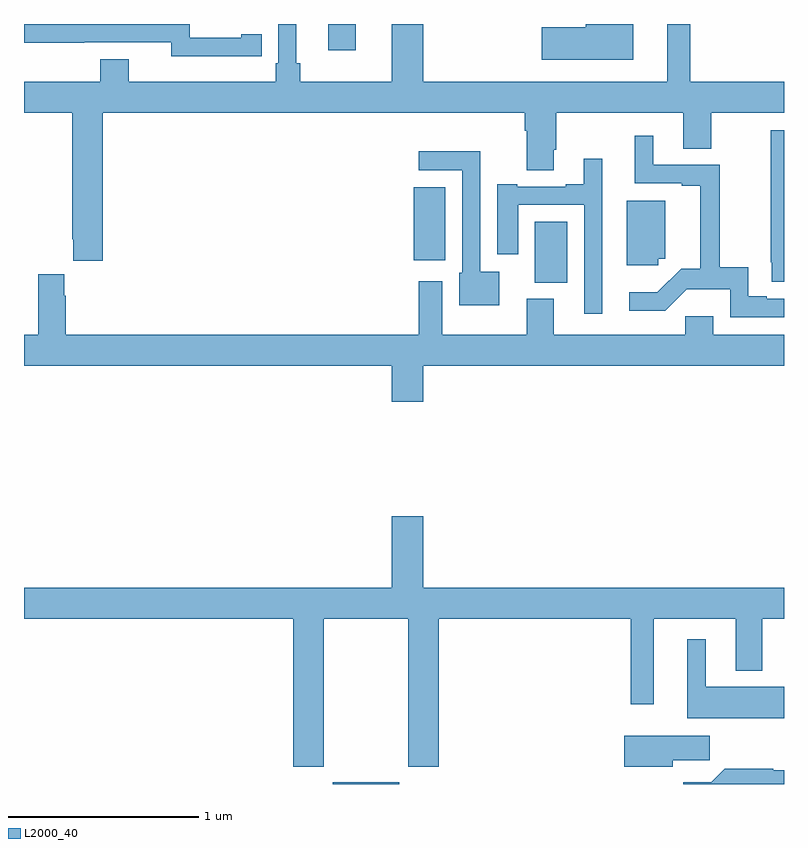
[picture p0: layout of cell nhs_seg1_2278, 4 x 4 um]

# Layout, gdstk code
import gdstk
lib = gdstk.Library(unit=1e-6, precision=1e-09)
def R(c, l, rs):  # rectangles x0, y0, x1, y1
    for r in rs: c.add(gdstk.rectangle(r[:2], r[2:], *l))
def P(c, l, *ps):  # polygons
    for p in ps: c.add(gdstk.Polygon(p, *l))
L2000_40 = (2000, 40)

nhs_seg1_2278 = lib.new_cell('nhs_seg1_2278')
R(nhs_seg1_2278, L2000_40, [(236.624,548.199,236.974,548.209), (237.689,550.838,237.859,551.158), (237.05,550.955,237.217,551.341), (236.6,552.06,236.746,552.199)])
P(nhs_seg1_2278, L2000_40, [(238.207,552.199),(237.956,552.199),(237.956,552.182),(237.726,552.182),(237.726,552.011),(238.207,552.011)],
  [(235.415,551.732),(237.635,551.732),(237.635,551.636),(237.647,551.636),(237.647,551.428),(237.787,551.428),(237.787,551.536),(237.8,551.536),(237.8,551.732),(238.469,551.732),(238.469,551.542),(238.617,551.542),(238.617,551.732),(239,551.732),(239,551.896),(238.507,551.896),(238.507,552.199),(238.385,552.199),(238.385,551.896),(237.1,551.896),(237.1,552.199),(236.936,552.199),(236.936,551.896),(236.453,551.896),(236.453,551.992),(236.434,551.992),(236.434,552.199),(236.337,552.199),(236.337,551.992),(236.324,551.992),(236.324,551.896),(235.552,551.896),(235.552,552.013),(235.4,552.013),(235.4,551.896),(235,551.896),(235,551.732),(235.255,551.732),(235.255,551.065),(235.259,551.065),(235.259,550.953),(235.415,550.953)],
  [(236.144,552.03),(236.252,552.03),(236.252,552.146),(236.144,552.146),(236.144,552.126),(235.872,552.126),(235.872,552.198),(235,552.198),(235,552.101),(235.316,552.101),(235.316,552.102),(235.776,552.102),(235.776,552.029),(236.144,552.029)],
  [(239,551.64),(238.93,551.64),(238.93,550.945),(238.936,550.945),(238.936,550.843),(239,550.843)],
  [(239,550.752),(238.909,550.752),(238.909,550.766),(238.812,550.766),(238.812,550.919),(238.661,550.919),(238.661,551.457),(238.312,551.457),(238.312,551.611),(238.214,551.611),(238.214,551.361),(238.463,551.361),(238.463,551.349),(238.559,551.349),(238.559,550.912),(238.459,550.912),(238.333,550.786),(238.185,550.786),(238.185,550.689),(238.374,550.689),(238.487,550.802),(238.716,550.802),(238.716,550.656),(239,550.656)],
  [(237.502,550.894),(237.402,550.894),(237.402,551.528),(237.078,551.528),(237.078,551.43),(237.306,551.43),(237.306,550.89),(237.29,550.89),(237.29,550.718),(237.502,550.718)],
  [(238.044,551.491),(237.947,551.491),(237.947,551.356),(237.851,551.356),(237.851,551.343),(237.595,551.343),(237.595,551.356),(237.491,551.356),(237.491,550.986),(237.601,550.986),(237.601,551.247),(237.948,551.247),(237.948,550.674),(238.044,550.674)],
  [(238.338,550.964),(238.375,550.964),(238.375,551.269),(238.172,551.269),(238.172,550.928),(238.338,550.928)],
  [(237.1,550.4),(239,550.4),(239,550.564),(238.627,550.564),(238.627,550.662),(238.481,550.662),(238.481,550.564),(237.787,550.564),(237.787,550.753),(237.647,550.753),(237.647,550.564),(237.202,550.564),(237.202,550.846),(237.077,550.846),(237.077,550.564),(235.22,550.564),(235.22,550.769),(235.213,550.769),(235.213,550.882),(235.076,550.882),(235.076,550.564),(235,550.564),(235,550.4),(236.936,550.4),(236.936,550.212),(237.1,550.212)],
  [(236.577,549.068),(237.022,549.068),(237.022,548.289),(237.182,548.289),(237.182,549.068),(238.194,549.068),(238.194,548.619),(238.315,548.619),(238.315,549.068),(238.745,549.068),(238.745,548.795),(238.885,548.795),(238.885,549.068),(239,549.068),(239,549.232),(237.1,549.232),(237.1,549.607),(236.936,549.607),(236.936,549.232),(235,549.232),(235,549.068),(236.417,549.068),(236.417,548.289),(236.577,548.289)],
  [(239,548.71),(238.588,548.71),(238.588,548.962),(238.49,548.962),(238.49,548.546),(239,548.546)],
  [(238.414,548.323),(238.609,548.323),(238.609,548.452),(238.16,548.452),(238.16,548.291),(238.414,548.291)],
  [(239,548.272),(238.943,548.272),(238.943,548.279),(238.688,548.279),(238.618,548.209),(238.469,548.209),(238.469,548.199),(239,548.199)])

lib.write_gds('nhs_seg1_2278.gds')
